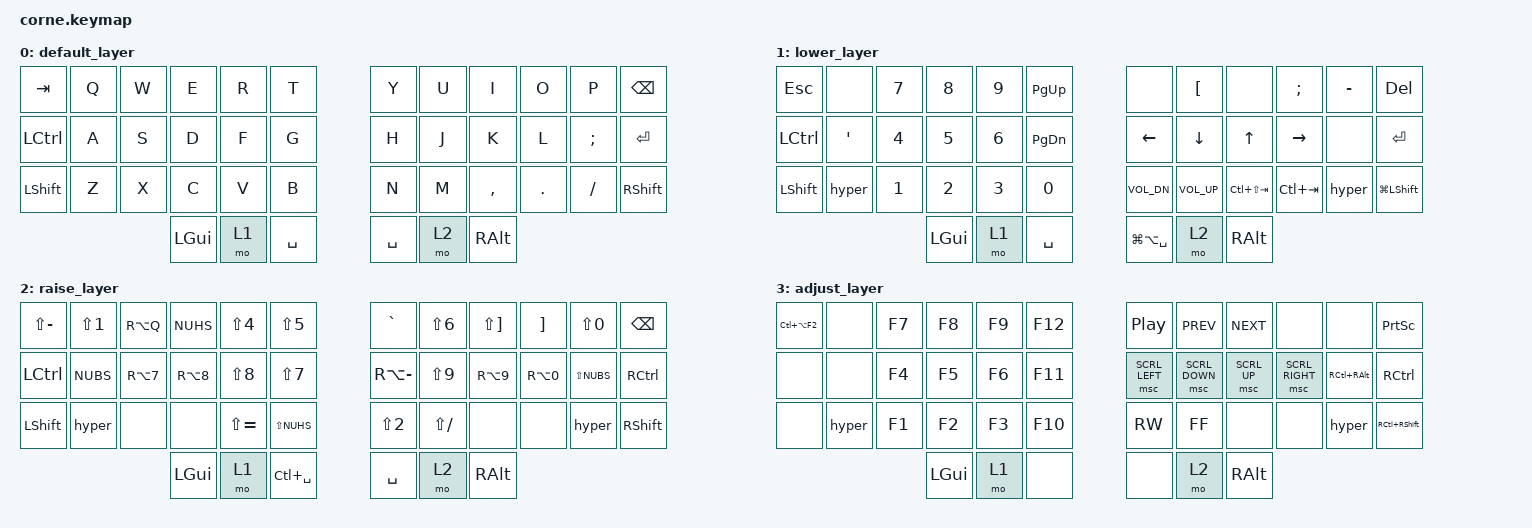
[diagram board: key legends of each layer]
/*
 * Copyright (c) 2020 The ZMK Contributors
 *
 * SPDX-License-Identifier: MIT
 */

#include <behaviors.dtsi>
#include <dt-bindings/zmk/keys.h>
#include <dt-bindings/zmk/pointing.h>

#define LOWER  1
#define RAISE  2
#define ADJUST 3

/ {
    macros {
        hyper: hyper {
            compatible = "zmk,behavior-macro";
            #binding-cells = <0>;
            bindings = <&kp LC(LS(LA(LGUI)))>;
        };
    };

    keymap {
        compatible = "zmk,keymap";

        // ╭──────────────────────────────────────────────────────────────────────────────╮
        // │ DEFAULT LAYER                                                                │
        // ╰──────────────────────────────────────────────────────────────────────────────╯
        default_layer {
            bindings = <
        // ╭─────────┬───────┬───────┬─────────┬───────┬─────────╮   ╭─────────┬───────┬─────────┬───────┬─────────┬─────────╮
            &kp TAB   &kp Q   &kp W   &kp E     &kp R   &kp T         &kp Y     &kp U   &kp I     &kp O   &kp P     &kp BSPC
        // ├─────────┼───────┼───────┼─────────┼───────┼─────────┤   ├─────────┼───────┼─────────┼───────┼─────────┼─────────┤
            &kp LCTRL &kp A   &kp S   &kp D     &kp F   &kp G         &kp H     &kp J   &kp K     &kp L   &kp SEMI  &kp RET
        // ├─────────┼───────┼───────┼─────────┼───────┼─────────┤   ├─────────┼───────┼─────────┼───────┼─────────┼─────────┤
            &kp LSHFT &kp Z   &kp X   &kp C     &kp V   &kp B         &kp N     &kp M   &kp COMMA &kp DOT &kp FSLH  &kp RSHFT
        // ╰─────────┴───────┴───────┼─────────┼───────┼─────────┤   ├─────────┼───────┼─────────┼───────┴─────────┴─────────╯
                                      &kp LGUI  &mo 1   &kp SPACE     &kp SPACE &mo 2   &kp RALT
        //                           ╰─────────┴───────┴─────────╯   ╰─────────┴───────┴─────────╯
            >;
        };

        // ╭──────────────────────────────────────────────────────────────────────────────╮
        // │ LOWER LAYER (Numbers, Navigation, Umlauts)                                   │
        // ╰──────────────────────────────────────────────────────────────────────────────╯
        lower_layer {
            bindings = <
        // ╭─────────┬───────┬───────┬─────────┬───────┬───────────╮   ╭───────────────┬──────────┬─────────────┬───────────┬─────────┬───────────╮
        //    Esc                7       8         9       PgUp              ---            ü                         ö          ß         Del
            &kp ESC   &none   &kp N7  &kp N8    &kp N9  &kp PG_UP       &none           &kp LBKT   &none         &kp SEMI    &kp MINUS   &kp DEL
        // ├─────────┼───────┼───────┼─────────┼───────┼───────────┤   ├───────────────┼──────────┼─────────────┼───────────┼─────────┼───────────┤
        //    Ctrl     ä         4       5         6       PgDn              ←              ↓           ↑            →                    Enter
            &kp LCTRL &kp SQT &kp N4  &kp N5    &kp N6  &kp PG_DN       &kp LEFT        &kp DOWN   &kp UP        &kp RIGHT   &none     &kp RET
        // ├─────────┼───────┼───────┼─────────┼───────┼───────────┤   ├───────────────┼──────────┼─────────────┼───────────┼─────────┼───────────┤
        //    Shift   Hyper      1       2         3        0                Vol-            Vol+      Prev Tab     Next Tab   Hyper     GUI+Shift
            &kp LSHFT &hyper  &kp N1  &kp N2    &kp N3  &kp N0          &kp C_VOL_DN    &kp C_VOL_UP &kp LC(LS(TAB)) &kp LC(TAB) &hyper    &kp LG(LSHFT)
        // ╰─────────┴───────┴───────┼─────────┼───────┼───────────┤   ├───────────────┼──────────┼─────────────┼───────────┴─────────┴───────────╯
        //                             GUI      Lower    Space           GUI+Alt+Space   Raise      RAlt
                                      &kp LGUI  &mo 1   &kp SPACE       &kp LG(LA(SPACE)) &mo 2    &kp RALT
        //                           ╰─────────┴───────┴───────────╯   ╰───────────────┴──────────┴─────────────╯
            >;
        };

        // ╭──────────────────────────────────────────────────────────────────────────────╮
        // │ RAISE LAYER (Symbols, DE Layout)                                             │
        // ╰──────────────────────────────────────────────────────────────────────────────╯
        raise_layer {
            bindings = <
        // ╭──────────────┬───────────┬───────────┬──────────┬───────────┬─────────────╮   ╭─────────────┬───────────┬─────────────┬──────────┬──────────────┬──────────╮
        //      ?              !           @           #           $           %                 ^             &            *            +            =            ⌫
            &kp LS(MINUS)  &kp LS(N1)  &kp RA(Q)   &kp NUHS   &kp LS(N4)  &kp LS(N5)        &kp GRAVE     &kp LS(N6)  &kp LS(RBKT)  &kp RBKT   &kp LS(N0)      &kp BSPC
        // ├──────────────┼───────────┼───────────┼──────────┼───────────┼─────────────┤   ├─────────────┼───────────┼─────────────┼──────────┼──────────────┼──────────┤
        //     Ctrl           <           {            [         (            /                  \             )          ]            }            >            Ctrl
            &kp LCTRL      &kp NUBS      &kp RA(N7) &kp RA(N8)  &kp LS(N8) &kp LS(N7)       &kp RA(MINUS)  &kp LS(N9)  &kp RA(N9)    &kp RA(N0) &kp LS(NUBS)   &kp RCTRL
        // ├──────────────┼───────────┼───────────┼──────────┼───────────┼─────────────┤   ├─────────────┼───────────┼─────────────┼──────────┼──────────────┼──────────┤
        //    Shift         Hyper                                  `           '                 "            _                                     Hyper       Shift
            &kp LSHFT     &hyper      &none       &none      &kp LS(EQUAL) &kp LS(NUHS)        &kp LS(N2)   &kp LS(FSLH)  &none        &none      &hyper        &kp RSHFT
        // ╰──────────────┴───────────┴───────────┼──────────┼───────────┼─────────────┤   ├─────────────┼───────────┼─────────────┼──────────┴──────────────┴──────────╯
        //                                            GUI       Lower      Ctrl+Space         Space         Raise       RAlt
                                                  &kp LGUI   &mo 1       &kp LC(SPACE)      &kp SPACE     &mo 2       &kp RALT
        //                                       ╰──────────┴───────────┴─────────────╯   ╰─────────────┴───────────┴─────────────╯
            >;
        };

        // ╭──────────────────────────────────────────────────────────────────────────────╮
        // │ ADJUST LAYER (F-Keys, Media, Scroll)                                         │
        // ╰──────────────────────────────────────────────────────────────────────────────╯
        adjust_layer {
            bindings = <
        // ╭─────────────┬───────┬───────┬─────────┬───────┬─────────╮   ╭────────────┬────────────┬────────────┬────────────┬──────────┬─────────────╮
        //  Ctrl+Alt+F2             F7      F8        F9      F12             ⏯            ⏮            ⏭                                  PrtSc
            &kp LC(LA(F2)) &none  &kp F7  &kp F8    &kp F9  &kp F12       &kp C_PP     &kp C_PREV   &kp C_NEXT   &none        &none      &kp PSCRN
        // ├─────────────┼───────┼───────┼─────────┼───────┼─────────┤   ├────────────┼────────────┼────────────┼────────────┼──────────┼─────────────┤
        //                          F4      F5        F6      F11            Scroll ←     Scroll ↓     Scroll ↑     Scroll →    Ctrl+RAlt    Ctrl
            &none         &none   &kp F4  &kp F5    &kp F6  &kp F11       &msc SCRL_LEFT &msc SCRL_DOWN &msc SCRL_UP &msc SCRL_RIGHT &kp RC(RALT) &kp RCTRL
        // ├─────────────┼───────┼───────┼─────────┼───────┼─────────┤   ├────────────┼────────────┼────────────┼────────────┼──────────┼─────────────┤
        //                 Hyper    F1      F2        F3      F10             ⏪           ⏩                                    Hyper     Ctrl+Shift
            &none         &hyper  &kp F1  &kp F2    &kp F3  &kp F10       &kp C_RW     &kp C_FF     &none        &none        &hyper     &kp RC(RSHFT)
        // ╰─────────────┴───────┴───────┼─────────┼───────┼─────────┤   ├────────────┼────────────┼────────────┼────────────┴──────────┴─────────────╯
        //                                  GUI      Lower                                Raise        RAlt
                                          &kp LGUI  &mo 1   &none         &none        &mo 2        &kp RALT
        //                               ╰─────────┴───────┴─────────╯   ╰────────────┴────────────┴────────────╯
            >;
        };
    };

    conditional_layers {
        compatible = "zmk,conditional-layers";

        adjust_condition {
            if-layers = <LOWER RAISE>;
            then-layer = <ADJUST>;
        };
    };
};
